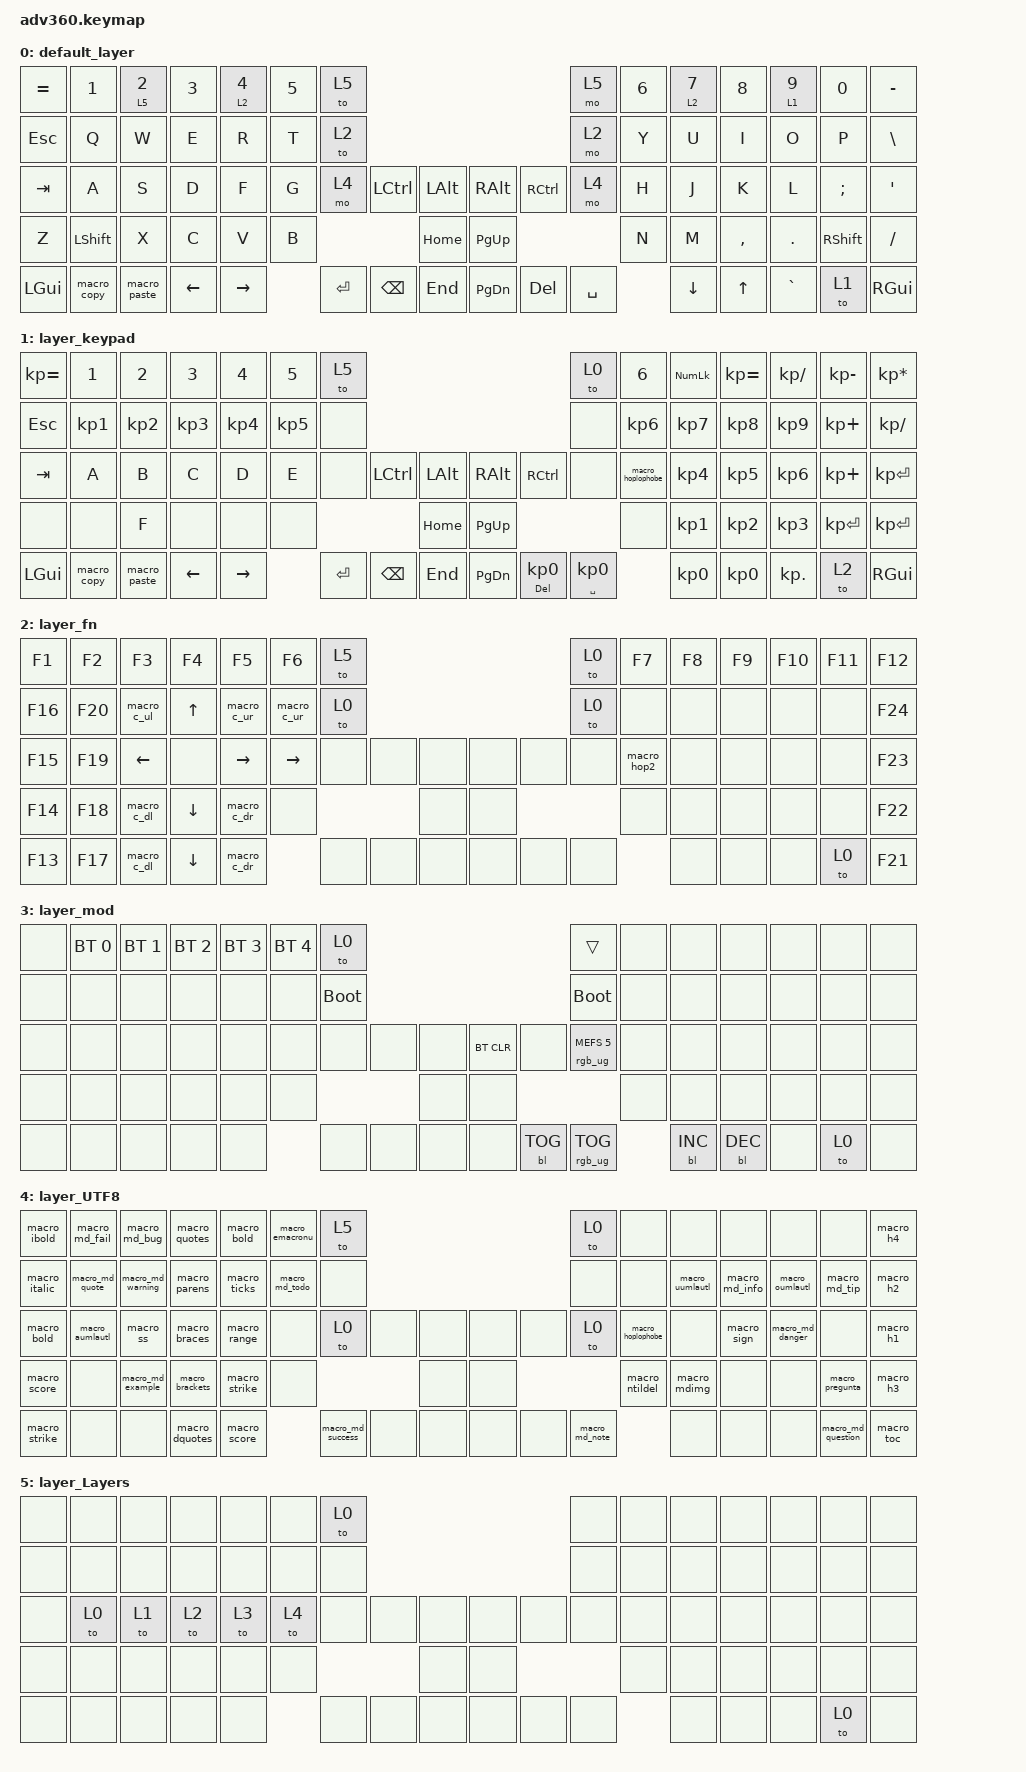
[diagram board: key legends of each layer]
/*
 * Copyright (c) 2020 The ZMK Contributors
 *
 * SPDX-License-Identifier: MIT
 */
/* THIS FILE WAS GENERATED!
 *
 * This file was generated automatically. You may or may not want to
 * edit it directly.
 */

#include <behaviors.dtsi>
#include <dt-bindings/zmk/backlight.h>
#include <dt-bindings/zmk/bt.h>
#include <dt-bindings/zmk/keys.h>
#include <dt-bindings/zmk/rgb.h>

/ {
    behaviors {
        #include "macros.dtsi"

        hm: homerow_mods {
            compatible = "zmk,behavior-hold-tap";
            label = "HOMEROW_MODS";
            #binding-cells = <2>;
            tapping-term-ms = <200>;
            quick_tap_ms = <175>;
            flavor = "tap-preferred";
            bindings = <&kp>, <&kp>;
        };
    };

    macros {
        macro_hop2: macro_hop2 {
            compatible = "zmk,behavior-macro";
            #binding-cells = <0>;
            bindings = <&kp LS(H) &kp O &kp P &kp L &kp O &kp P &kp H &kp O &kp B &kp E &kp N1 &kp EXCL &kp N1 &kp EXCL &kp RET>;
            label = "MACRO_HOP2";
        };

        macro_pregunta: macro_pregunta {
            compatible = "zmk,behavior-macro";
            #binding-cells = <0>;
            bindings = <&kp LGUI &kp QMARK &kp QMARK>;
            label = "MACRO_PREGUNTA";
        };

        macro_md_example: macro_md_example {
            compatible = "zmk,behavior-macro";
            #binding-cells = <0>;
            bindings = <&kp GT &kp LBKT &kp EXCL &kp LS(E) &kp LS(X) &kp LS(A) &kp LS(M) &kp LS(P) &kp LS(L) &kp LS(E) &kp RIGHT_BRACKET &kp SPACE &kp LG(MINUS) &kp MINUS &kp MINUS &kp SPACE>;
            label = "MACRO_MD_EXAMPLE";
        };

        macro_md_bug: macro_md_bug {
            compatible = "zmk,behavior-macro";
            #binding-cells = <0>;
            bindings = <&kp GT &kp LBKT &kp EXCL &kp LS(B) &kp LS(U) &kp LS(G) &kp RIGHT_BRACKET &kp SPACE &kp LG(MINUS) &kp MINUS &kp MINUS &kp SPACE>;
            label = "MACRO_MD_BUG";
        };

        macro_md_success: macro_md_success {
            compatible = "zmk,behavior-macro";
            #binding-cells = <0>;
            bindings = <&kp GT &kp LBKT &kp EXCL &kp LS(S) &kp LS(U) &kp LS(C) &kp LS(C) &kp LS(E) &kp LS(S) &kp LS(S) &kp RIGHT_BRACKET &kp SPACE &kp LG(MINUS) &kp MINUS &kp MINUS &kp SPACE>;
            label = "MACRO_MD_SUCCESS";
        };

        macro_md_note: macro_md_note {
            compatible = "zmk,behavior-macro";
            #binding-cells = <0>;
            bindings = <&kp GT &kp LBKT &kp EXCL &kp LS(N) &kp LS(O) &kp LS(T) &kp LS(E) &kp RIGHT_BRACKET &kp SPACE &kp LG(MINUS) &kp MINUS &kp MINUS &kp SPACE>;
            label = "MACRO_MD_NOTE";
        };

        macro_md_danger: macro_md_danger {
            compatible = "zmk,behavior-macro";
            #binding-cells = <0>;
            bindings = <&kp GT &kp LBKT &kp EXCL &kp LS(D) &kp LS(A) &kp LS(N) &kp LS(G) &kp LS(E) &kp LS(R) &kp RIGHT_BRACKET &kp SPACE &kp LG(MINUS) &kp MINUS &kp MINUS &kp SPACE>;
            label = "MACRO_MD_DANGER";
        };

        macro_md_fail: macro_md_fail {
            compatible = "zmk,behavior-macro";
            #binding-cells = <0>;
            bindings = <&kp GT &kp LBKT &kp EXCL &kp LS(F) &kp LS(A) &kp LS(I) &kp LS(L) &kp LS(U) &kp LS(R) &kp LS(E) &kp RIGHT_BRACKET &kp SPACE &kp LG(MINUS) &kp MINUS &kp MINUS &kp SPACE>;
            label = "MACRO_MD_FAIL";
        };

        macro_md_warning: macro_md_warning {
            compatible = "zmk,behavior-macro";
            #binding-cells = <0>;
            bindings = <&kp GT &kp LBKT &kp EXCL &kp LS(W) &kp LS(A) &kp LS(R) &kp LS(N) &kp LS(I) &kp LS(N) &kp LS(G) &kp RIGHT_BRACKET &kp SPACE &kp LG(MINUS) &kp MINUS &kp MINUS &kp SPACE>;
            label = "MACRO_MD_WARNING";
        };

        macro_md_tip: macro_md_tip {
            compatible = "zmk,behavior-macro";
            #binding-cells = <0>;
            bindings = <&kp GT &kp LBKT &kp EXCL &kp LS(T) &kp LS(I) &kp LS(P) &kp RIGHT_BRACKET &kp SPACE &kp LG(MINUS) &kp MINUS &kp MINUS &kp SPACE>;
            label = "MACRO_MD_TIP";
        };

        macro_md_todo: macro_todo {
            compatible = "zmk,behavior-macro";
            #binding-cells = <0>;
            bindings = <&kp GT &kp LBKT &kp EXCL &kp LS(T) &kp LS(O) &kp LS(D) &kp LS(O) &kp RIGHT_BRACKET &kp SPACE &kp LG(MINUS) &kp MINUS &kp MINUS &kp SPACE>;
            label = "MACRO_TODO";
        };

        macro_md_info: macro_md_info {
            compatible = "zmk,behavior-macro";
            #binding-cells = <0>;
            bindings = <&kp GT &kp LBKT &kp EXCL &kp LS(I) &kp LS(N) &kp LS(F) &kp LS(O) &kp RIGHT_BRACKET &kp SPACE &kp LG(MINUS) &kp MINUS &kp MINUS &kp SPACE>;
            label = "MACRO_MD_INFO";
        };

        macro_md_question: macro_question {
            compatible = "zmk,behavior-macro";
            #binding-cells = <0>;
            bindings = <&kp GT &kp LBKT &kp EXCL &kp LS(Q) &kp LS(U) &kp LS(E) &kp LS(S) &kp LS(T) &kp LS(I) &kp LS(O) &kp LS(N) &kp RIGHT_BRACKET &kp SPACE &kp LG(MINUS) &kp MINUS &kp MINUS &kp SPACE>;
            label = "MACRO_QUESTION";
        };

        macro_md_quote: macro_quote {
            compatible = "zmk,behavior-macro";
            #binding-cells = <0>;
            bindings = <&kp GT &kp LBKT &kp EXCL &kp LS(Q) &kp LS(U) &kp LS(O) &kp LS(T) &kp LS(E) &kp RIGHT_BRACKET &kp SPACE &kp LG(MINUS) &kp MINUS &kp MINUS &kp SPACE>;
            label = "MACRO_QUOTE";
        };

        macro_toc: macro_toc {
            compatible = "zmk,behavior-macro";
            #binding-cells = <0>;
            bindings = <&kp LBKT &kp SPACE &kp LS(T) &kp LS(O) &kp LS(C) &kp SPACE &kp LBRC &kp RET>;
            label = "MACRO_TOC";
        };

        macro_h4: macro_h4 {
            compatible = "zmk,behavior-macro";
            #binding-cells = <0>;
            bindings = <&kp ESCAPE &kp LS(G) &kp LS(O) &kp RET &kp STAR &kp STAR &kp STAR &kp STAR &kp SPACE>;
            label = "MACRO_H4";
        };

        macro_h3: macro_h3 {
            compatible = "zmk,behavior-macro";
            #binding-cells = <0>;
            bindings = <&kp ESCAPE &kp LS(G) &kp LS(O) &kp STAR &kp STAR &kp STAR &kp SPACE>;
            label = "MACRO_H3";
        };

        macro_h2: macro_h2 {
            compatible = "zmk,behavior-macro";
            #binding-cells = <0>;
            bindings = <&kp ESCAPE &kp LS(G) &kp LS(O) &kp STAR &kp STAR &kp SPACE>;
            label = "MACRO_H2";
        };

        macro_h1: macro_h1 {
            compatible = "zmk,behavior-macro";
            #binding-cells = <0>;
            bindings = <&kp END &kp ESCAPE &kp LS(G) &kp LS(G) &kp O &kp RET &kp RET &kp RET &kp LS(E) &kp N &kp T &kp R &kp Y &kp COLON &kp SPACE &kp STAR &kp STAR &kp LA(D) &kp SPACE &kp LA(T) &kp STAR &kp STAR &kp UP_ARROW &kp UP_ARROW &kp POUND &kp SPACE>;
            label = "MACRO_H1";
        };

        macro_ibold: macro_ibold {
            compatible = "zmk,behavior-macro";
            #binding-cells = <0>;
            bindings = <&kp STAR &kp STAR &kp STAR &kp STAR &kp STAR &kp STAR &kp LEFT &kp LEFT_ARROW &kp LEFT>;
            label = "MACRO_IBOLD";
        };

        macro_italic: macro_italic {
            compatible = "zmk,behavior-macro";
            #binding-cells = <0>;
            bindings = <&kp STAR &kp STAR &kp LEFT_ARROW>;
            label = "MACRO_ITALIC";
        };

        macro_score: macro_score {
            compatible = "zmk,behavior-macro";
            #binding-cells = <0>;
            bindings = <&kp LT &kp U &kp GT &kp LT &kp FSLH &kp U &kp GT &kp LEFT_ARROW &kp LEFT_ARROW &kp LEFT &kp LEFT_ARROW>;
            label = "MACRO_SCORE";
        };

        macro_bold: macro_bold {
            compatible = "zmk,behavior-macro";
            #binding-cells = <0>;
            bindings = <&kp STAR &kp STAR &kp STAR &kp STAR &kp LEFT_ARROW &kp LEFT>;
            label = "MACRO_BOLD";
        };

        macro_strike: macro_strike {
            compatible = "zmk,behavior-macro";
            #binding-cells = <0>;
            bindings = <&kp TILDE &kp TILDE &kp TILDE &kp TILDE &kp LEFT &kp LEFT>;
            label = "MACRO_STRIKE";
        };

        macro_ticks: macro_ticks {
            compatible = "zmk,behavior-macro";
            #binding-cells = <0>;
            bindings = <&kp GRAVE &kp GRAVE &kp LEFT>;
            label = "MACRO_TICKS";
        };

        macro_c_dr: macro_c_dr {
            compatible = "zmk,behavior-macro";
            #binding-cells = <0>;
            bindings = <&kp DOWN &kp RIGHT_ARROW>;
            label = "MACRO_C_DR";
        };

        macro_c_ur: macro_c_ur {
            compatible = "zmk,behavior-macro";
            #binding-cells = <0>;
            bindings = <&kp UP_ARROW &kp RIGHT>;
            label = "MACRO_C_UR";
        };

        macro_c_ul: macro_c_ul {
            compatible = "zmk,behavior-macro";
            #binding-cells = <0>;
            bindings = <&kp UP_ARROW &kp RIGHT>;
            label = "MACRO_C_UL";
        };

        macro_c_dl: macro_c_dl {
            compatible = "zmk,behavior-macro";
            #binding-cells = <0>;
            bindings = <&kp DOWN_ARROW &kp LEFT_ARROW>;
            label = "MACRO_C_DL";
        };

        macro_sign: macro_sign {
            compatible = "zmk,behavior-macro";
            #binding-cells = <0>;
            bindings = <&kp LS(K) &kp I &kp R &kp K &kp SPACE &kp LS(R) &kp O &kp Y &kp B &kp A &kp L>;
            label = "MACRO_SIGN";
        };

        macro_emacronu: macro_emacronu {
            compatible = "zmk,behavior-macro";
            #binding-cells = <0>;
            bindings = <&kp LG(LS(E)) &kp CARET>;
            label = "MACRO_EMACRONU";
        };

        macro_range: macro_range {
            compatible = "zmk,behavior-macro";
            #binding-cells = <0>;
            bindings = <&kp LT &kp GT &kp LEFT>;
            label = "MACRO_RANGE";
        };

        macro_hyper: macro_hyper {
            compatible = "zmk,behavior-macro";
            #binding-cells = <0>;
            bindings = <&kp C_MENU>;
            label = "MACRO_HYPER";
        };

        macro_meh: macro_meh {
            compatible = "zmk,behavior-macro";
            #binding-cells = <0>;
            bindings = <&kp LA(LC(LSHFT))>;
            label = "MACRO_MEH";
        };

        macro_quit: macro_quit {
            compatible = "zmk,behavior-macro";
            #binding-cells = <0>;
            bindings = <&kp E &kp X &kp I &kp T &kp RET &kp BSLH &kp Q &kp RET>;
            label = "MACRO_QUIT";
        };

        macro_vimexit: macro_vimexit {
            compatible = "zmk,behavior-macro";
            #binding-cells = <0>;
            bindings = <&kp ESCAPE &kp COLON &kp X &kp RET>;
            label = "MACRO_VIMEXIT";
        };

        macro_ntildeu: macro_ntildeu {
            compatible = "zmk,behavior-macro";
            #binding-cells = <0>;
            bindings = <&kp LG(LS(N)) &kp TILDE>;
            label = "MACRO_NTILDEU";
        };

        macro_ntildel: macro_ntildel {
            compatible = "zmk,behavior-macro";
            #binding-cells = <0>;
            bindings = <&kp LG(N) &kp TILDE>;
            label = "MACRO_NTILDEL";
        };

        macro_copy: macro_copy {
            compatible = "zmk,behavior-macro";
            #binding-cells = <0>;
            bindings = <&kp LC(C)>;
            label = "MACRO_COPY";
        };

        macro_paste: macro_paste {
            compatible = "zmk,behavior-macro";
            #binding-cells = <0>;
            bindings = <&kp LC(V)>;
            label = "MACRO_PASTE";
        };

        macro_hoplophobe: macro_hoplophobe {
            compatible = "zmk,behavior-macro";
            #binding-cells = <0>;
            bindings = <&kp LS(H) &kp O &kp P &kp L &kp O &kp P &kp H &kp O &kp B &kp E &kp N1 &kp EXCL &kp RET>;
            label = "MACRO_HOPLOPHOBE";
        };

        macro_ss: macro_ss {
            compatible = "zmk,behavior-macro";
            #binding-cells = <0>;
            bindings = <&kp LGUI &kp S &kp S>;
            label = "MACRO_SS";
        };

        macro_uumlautu: macro_uumlautu {
            compatible = "zmk,behavior-macro";
            #binding-cells = <0>;
            bindings = <&kp LG(LS(U)) &kp COLON>;
            label = "MACRO_UUMLAUTU";
        };

        macro_uumlautl: macro_uumlautl {
            compatible = "zmk,behavior-macro";
            #binding-cells = <0>;
            bindings = <&kp LG(U) &kp COLON>;
            label = "MACRO_UUMLAUTL";
        };

        macro_oumlautu: macro_oumlautu {
            compatible = "zmk,behavior-macro";
            #binding-cells = <0>;
            bindings = <&kp LG(LS(O)) &kp COLON>;
            label = "MACRO_OUMLAUTU";
        };

        macro_oumlautl: macro_oumlautl {
            compatible = "zmk,behavior-macro";
            #binding-cells = <0>;
            bindings = <&kp LG(O) &kp COLON>;
            label = "MACRO_OUMLAUTL";
        };

        macro_aumlautu: macro_aumlautu {
            compatible = "zmk,behavior-macro";
            #binding-cells = <0>;
            bindings = <&kp LG(LS(A)) &kp COLON>;
            label = "MACRO_AUMLAUTU";
        };

        macro_aumlautl: macro_aumlautl {
            compatible = "zmk,behavior-macro";
            #binding-cells = <0>;
            bindings = <&kp LG(A) &kp COLON>;
            label = "MACRO_AUMLAUTL";
        };

        macro_mdimg: macro_mdimg {
            compatible = "zmk,behavior-macro";
            #binding-cells = <0>;
            bindings = <&kp EXCL &kp LBKT &kp PIPE &kp N3 &kp N5 &kp N0 &kp RIGHT_BRACKET &kp LPAR &kp RPAR &kp HOME &kp GT &kp GT>;
            label = "MACRO_MDIMG";
        };

        macro_quotes: macro_quotes {
            compatible = "zmk,behavior-macro";
            #binding-cells = <0>;
            bindings = <&kp SQT &kp SQT &kp LEFT_ARROW>;
            label = "MACRO_QUOTES";
        };

        macro_dquotes: macro_dquotes {
            compatible = "zmk,behavior-macro";
            #binding-cells = <0>;
            bindings = <&kp DQT &kp DQT &kp LEFT>;
            label = "MACRO_DQUOTES";
        };

        macro_braces: macro_braces {
            compatible = "zmk,behavior-macro";
            #binding-cells = <0>;
            bindings = <&kp LEFT_BRACE &kp RBRC &kp LEFT>;
            label = "MACRO_BRACES";
        };

        macro_parens: macro_parens {
            compatible = "zmk,behavior-macro";
            #binding-cells = <0>;
            bindings = <&kp LPAR &kp RPAR &kp LEFT_ARROW>;
            label = "MACRO_PARENS";
        };

        macro_brackets: macro_brackets {
            compatible = "zmk,behavior-macro";
            #binding-cells = <0>;
            bindings = <&kp LBKT &kp RIGHT_BRACKET &kp LEFT_ARROW>;
            label = "MACRO_BRACKETS";
        };

        macro_kinesis: macro_kinesis {
            compatible = "zmk,behavior-macro";
            #binding-cells = <0>;
            bindings = <&kp LS(K) &kp I &kp N &kp E &kp S &kp I &kp S>;
            label = "MACRO_KINESIS";
        };
    };

    keymap {
        compatible = "zmk,keymap";

        default_layer {
            bindings = <
&kp EQUAL     &kp N1       &lt 5 N2      &kp N3    &lt 2 N4   &kp N5  &to 5                                                          &mo 5      &kp N6  &lt 2 N7  &kp N8     &lt 1 N9   &kp N0         &kp MINUS
&kp ESC       &kp Q        &kp W         &kp E     &kp R      &kp T   &to 2                                                          &mo 2      &kp Y   &kp U     &kp I      &kp O      &kp P          &kp BSLH
&kp TAB       &kp A        &kp S         &kp D     &kp F      &kp G   &mo 4      &kp LCTRL  &kp LALT      &kp RIGHT_ALT  &kp RCTRL   &mo 4      &kp H   &kp J     &kp K      &kp L      &kp SEMICOLON  &kp SQT
&kp Z         &kp LSHIFT   &kp X         &kp C     &kp V      &kp B                         &kp HOME      &kp PG_UP                             &kp N   &kp M     &kp COMMA  &kp DOT    &kp RSHFT      &kp FSLH
&kp LEFT_GUI  &macro_copy  &macro_paste  &kp LEFT  &kp RIGHT          &kp ENTER  &kp BSPC   &kp END       &kp PG_DN      &kp DELETE  &kp SPACE          &kp DOWN  &kp UP     &kp GRAVE  &to 1          &kp RGUI
            >;
        };

        layer_keypad {
            bindings = <
&kp KP_EQUAL  &kp N1       &kp N2        &kp N3     &kp N4     &kp N5     &to 5                                                                 &to 0            &kp N6             &kp KP_NUM  &kp KP_EQUAL  &kp KP_DIVIDE  &kp KP_MINUS  &kp KP_MULTIPLY
&kp ESC       &kp KP_N1    &kp KP_N2     &kp KP_N3  &kp KP_N4  &kp KP_N5  &none                                                                 &none            &kp KP_N6          &kp KP_N7   &kp KP_N8     &kp KP_N9      &kp KP_PLUS   &kp KP_DIVIDE
&kp TAB       &kp A        &kp B         &kp C      &kp D      &kp E      &none      &kp LCTRL      &kp LALT      &kp RIGHT_ALT  &kp RCTRL      &none            &macro_hoplophobe  &kp KP_N4   &kp KP_N5     &kp KP_N6      &kp KP_PLUS   &kp KP_ENTER
&none         &none        &kp F         &none      &none      &none                                &kp HOME      &kp PG_UP                                      &none              &kp KP_N1   &kp KP_N2     &kp KP_N3      &kp KP_ENTER  &kp KP_ENTER
&kp LGUI      &macro_copy  &macro_paste  &kp LEFT   &kp RIGHT             &kp ENTER  &kp BACKSPACE  &kp END       &kp PG_DN      &mt DEL KP_N0  &mt SPACE KP_N0                     &kp KP_N0   &kp KP_N0     &kp KP_DOT     &to 2         &kp RGUI
            >;
        };

        layer_fn {
            bindings = <
&kp F1   &kp F2   &kp F3          &kp F4          &kp F5           &kp F6           &to 5                                  &to 0  &kp F7       &kp F8  &kp F9  &kp F10  &kp F11  &kp F12
&kp F16  &kp F20  &macro_c_ul     &kp UP_ARROW    &macro_c_ur      &macro_c_ur      &to 0                                  &to 0  &none        &none   &none   &none    &none    &kp F24
&kp F15  &kp F19  &kp LEFT_ARROW  &none           &kp RIGHT_ARROW  &kp RIGHT_ARROW  &none  &none  &none      &none  &none  &none  &macro_hop2  &none   &none   &none    &none    &kp F23
&kp F14  &kp F18  &macro_c_dl     &kp DOWN_ARROW  &macro_c_dr      &none                          &none      &none                &none        &none   &none   &none    &none    &kp F22
&kp F13  &kp F17  &macro_c_dl     &kp DOWN_ARROW  &macro_c_dr                       &none  &none  &none      &none  &none  &none               &none   &none   &none    &to 0    &kp F21
            >;
        };

        layer_mod {
            bindings = <
&none  &bt BT_SEL 0  &bt BT_SEL 1  &bt BT_SEL 2  &bt BT_SEL 3  &bt BT_SEL 4  &to 0                                                  &trans                  &none  &none       &none       &none  &none  &none
&none  &none         &none         &none         &none         &none         &bootloader                                            &bootloader             &none  &none       &none       &none  &none  &none
&none  &none         &none         &none         &none         &none         &none        &none  &none      &bt BT_CLR  &none       &rgb_ug RGB_MEFS_CMD 5  &none  &none       &none       &none  &none  &none
&none  &none         &none         &none         &none         &none                             &none      &none                                           &none  &none       &none       &none  &none  &none
&none  &none         &none         &none         &none                       &none        &none  &none      &none       &bl BL_TOG  &rgb_ug RGB_TOG                &bl BL_INC  &bl BL_DEC  &none  &to 0  &none
            >;
        };

        layer_UTF8 {
            bindings = <
&macro_ibold   &macro_md_fail   &macro_md_bug      &macro_quotes    &macro_bold    &macro_emacronu  &to 5                                              &to 0           &none              &none            &none           &none             &none               &macro_h4
&macro_italic  &macro_md_quote  &macro_md_warning  &macro_parens    &macro_ticks   &macro_md_todo   &none                                              &none           &none              &macro_uumlautl  &macro_md_info  &macro_oumlautl   &macro_md_tip       &macro_h2
&macro_bold    &macro_aumlautl  &macro_ss          &macro_braces    &macro_range   &none            &to 0              &none  &none      &none  &none  &to 0           &macro_hoplophobe  &none            &macro_sign     &macro_md_danger  &none               &macro_h1
&macro_score   &none            &macro_md_example  &macro_brackets  &macro_strike  &none                                      &none      &none                         &macro_ntildel     &macro_mdimg     &none           &none             &macro_pregunta     &macro_h3
&macro_strike  &none            &none              &macro_dquotes   &macro_score                    &macro_md_success  &none  &none      &none  &none  &macro_md_note                     &none            &none           &none             &macro_md_question  &macro_toc
            >;
        };

        layer_Layers {
            bindings = <
&none  &none  &none  &none  &none  &none  &to 0                                  &none  &none  &none  &none  &none  &none  &none
&none  &none  &none  &none  &none  &none  &none                                  &none  &none  &none  &none  &none  &none  &none
&none  &to 0  &to 1  &to 2  &to 3  &to 4  &none  &none  &none      &none  &none  &none  &none  &none  &none  &none  &none  &none
&none  &none  &none  &none  &none  &none                &none      &none                &none  &none  &none  &none  &none  &none
&none  &none  &none  &none  &none         &none  &none  &none      &none  &none  &none         &none  &none  &none  &to 0  &none
            >;
        };
    };
};
